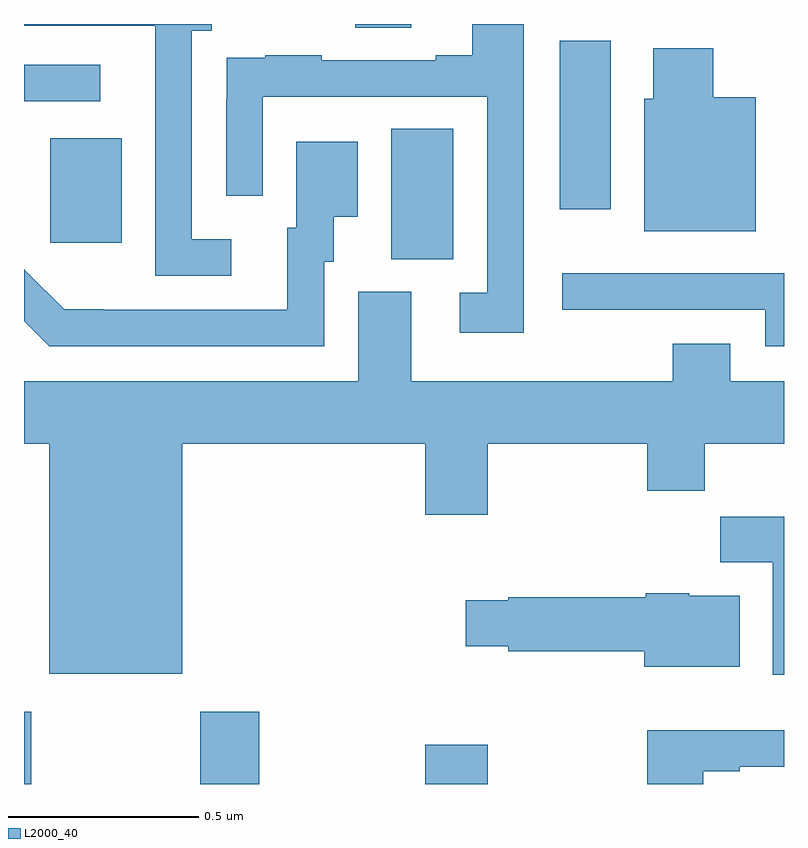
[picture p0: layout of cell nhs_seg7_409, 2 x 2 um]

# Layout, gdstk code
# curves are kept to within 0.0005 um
import gdstk
lib = gdstk.Library(unit=1e-6, precision=1e-09)
def R(c, l, rs):  # rectangles x0, y0, x1, y1
    for r in rs: c.add(gdstk.rectangle(r[:2], r[2:], *l))
def P(c, l, *ps):  # polygons
    for p in ps: c.add(gdstk.Polygon(p, *l))
L2000_40 = (2000, 40)

nhs_seg7_409 = lib.new_cell('nhs_seg7_409')
R(nhs_seg7_409, L2000_40, [(116,1053,116.019,1053.19), (116.464,1053,116.619,1053.19), (117.056,1053,117.22,1053.103), (116.966,1054.381,117.13,1054.724), (116.069,1054.425,116.257,1054.699), (117.41,1054.512,117.544,1054.956), (116,1054.797,116.2,1054.893), (116.872,1054.99,117.019,1055)])
P(nhs_seg7_409, L2000_40, [(116.545,1054.434),(116.442,1054.434),(116.442,1054.982),(116.494,1054.982),(116.494,1055),(116,1055),(116,1054.995),(116.345,1054.995),(116.345,1054.795),(116.346,1054.795),(116.346,1054.338),(116.545,1054.338)],
  [(117.315,1055),(117.179,1055),(117.179,1054.918),(117.083,1054.918),(117.083,1054.905),(116.783,1054.905),(116.783,1054.918),(116.635,1054.918),(116.635,1054.911),(116.533,1054.911),(116.533,1054.802),(116.532,1054.802),(116.532,1054.548),(116.628,1054.548),(116.628,1054.809),(117.219,1054.809),(117.219,1054.293),(117.147,1054.293),(117.147,1054.188),(117.315,1054.188)],
  [(117.925,1054.807),(117.814,1054.807),(117.814,1054.936),(117.656,1054.936),(117.656,1054.803),(117.632,1054.803),(117.632,1054.454),(117.925,1054.454)],
  [(116.79,1054.374),(116.815,1054.374),(116.815,1054.493),(116.878,1054.493),(116.878,1054.69),(116.717,1054.69),(116.717,1054.464),(116.693,1054.464),(116.693,1054.248),(116.209,1054.248),(116.209,1054.249),(116.106,1054.249),(116,1054.354),(116,1054.218),(116.066,1054.152),(116.79,1054.152)],
  [(118,1054.344),(117.417,1054.344),(117.417,1054.248),(117.951,1054.248),(117.951,1054.152),(118,1054.152)],
  [(116.416,1053.896),(117.056,1053.896),(117.056,1053.708),(117.22,1053.708),(117.22,1053.896),(117.64,1053.896),(117.64,1053.772),(117.791,1053.772),(117.791,1053.896),(118,1053.896),(118,1054.06),(117.859,1054.06),(117.859,1054.159),(117.707,1054.159),(117.707,1054.06),(117.019,1054.06),(117.019,1054.296),(116.879,1054.296),(116.879,1054.06),(116,1054.06),(116,1053.896),(116.066,1053.896),(116.066,1053.29),(116.416,1053.29)],
  [(118,1053.703),(117.832,1053.703),(117.832,1053.584),(117.971,1053.584),(117.971,1053.288),(118,1053.288)],
  [(117.883,1053.496),(117.75,1053.496),(117.75,1053.502),(117.636,1053.502),(117.636,1053.492),(117.274,1053.492),(117.274,1053.484),(117.162,1053.484),(117.162,1053.362),(117.274,1053.362),(117.274,1053.35),(117.632,1053.35),(117.632,1053.308),(117.883,1053.308)],
  [(117.787,1053.033),(117.883,1053.033),(117.883,1053.045),(118,1053.045),(118,1053.142),(117.64,1053.142),(117.64,1053),(117.787,1053)])

lib.write_gds('nhs_seg7_409.gds')
